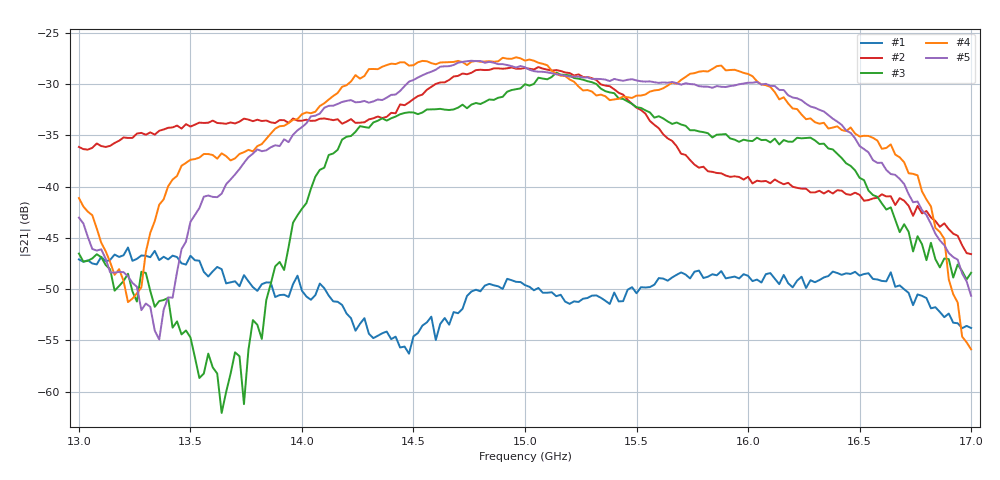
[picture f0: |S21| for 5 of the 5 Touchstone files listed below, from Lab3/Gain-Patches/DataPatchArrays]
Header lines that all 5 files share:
!Keysight Technologies,P9374A,MY57211810,A.19.30.04
!S2P File: Measurements: S11, S21, S12, S22:
# Hz S  dB  R 50
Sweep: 13 GHz to 17 GHz
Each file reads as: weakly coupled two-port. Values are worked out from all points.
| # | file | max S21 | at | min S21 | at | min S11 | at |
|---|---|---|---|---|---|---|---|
| 1 | Patch1.s2p | -45.94 dB | 13.22 GHz | -56.3 dB | 14.48 GHz | -33.1 dB | 15.64 GHz |
| 2 | Patch2.s2p | -28.35 dB | 15.06 GHz | -46.6 dB | 17 GHz | -33.0 dB | 13.98 GHz |
| 3 | Patch4.s2p | -28.89 dB | 15.14 GHz | -62.1 dB | 13.64 GHz | -39.4 dB | 13.66 GHz |
| 4 | Patch8_A.s2p | -27.40 dB | 14.96 GHz | -55.9 dB | 17 GHz | -42.9 dB | 13.84 GHz |
| 5 | Patch8_B.s2p | -27.74 dB | 14.76 GHz | -54.9 dB | 13.36 GHz | -32.7 dB | 14.04 GHz |
